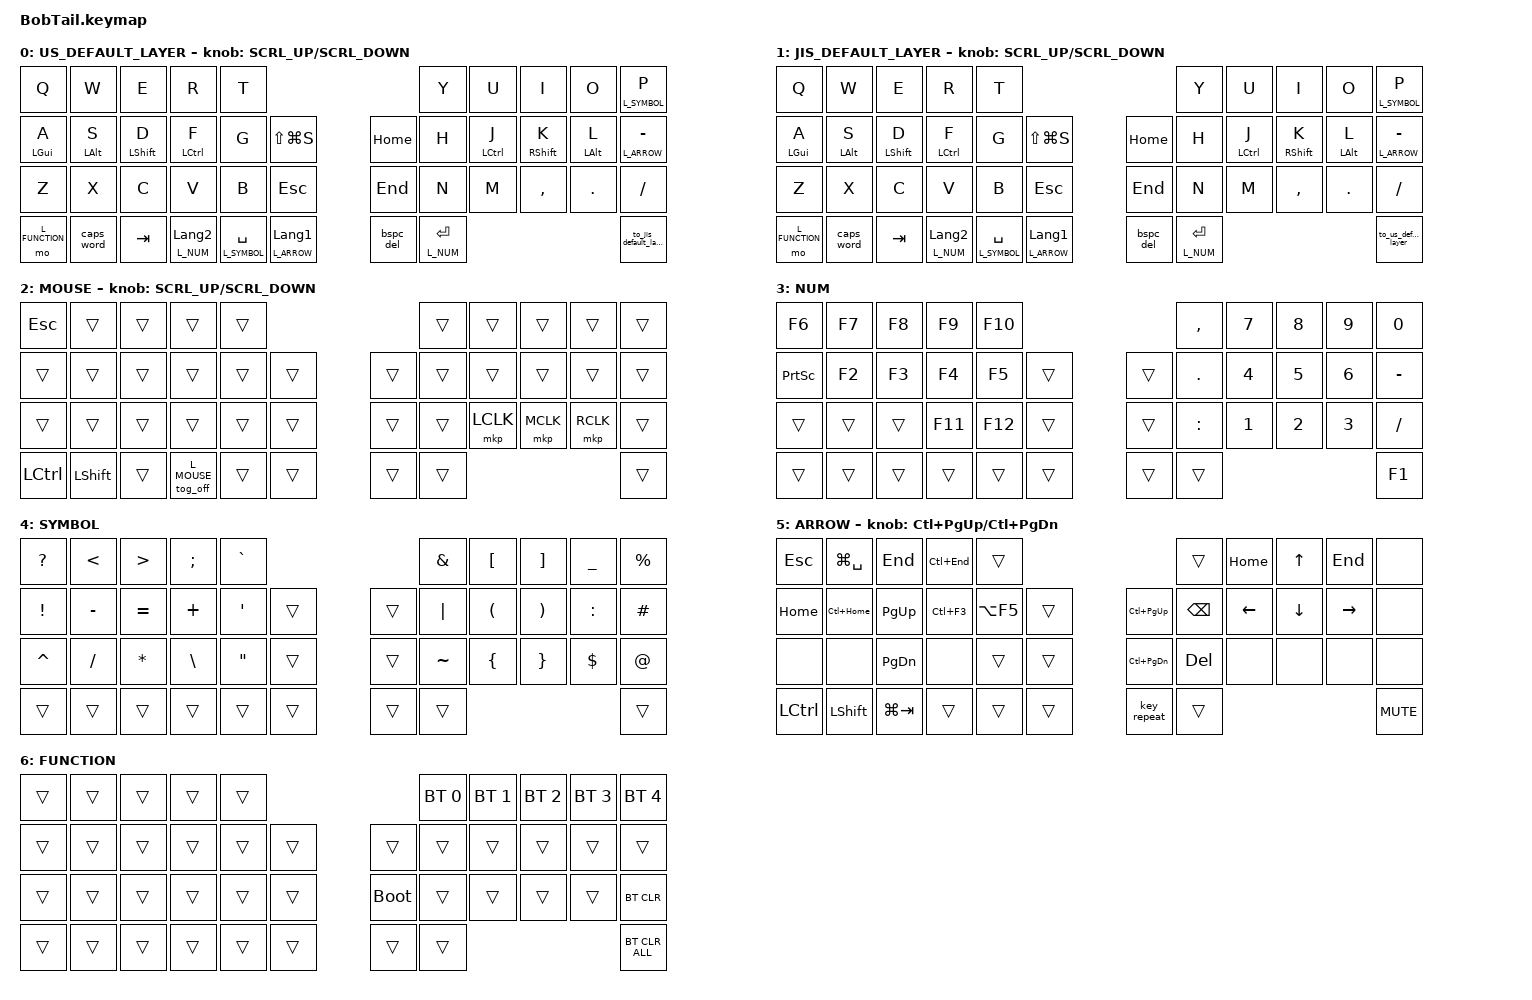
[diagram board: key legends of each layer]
#include <behaviors.dtsi>
#include <input/processors.dtsi>
#include <dt-bindings/zmk/bt.h>
#include <dt-bindings/zmk/keys.h>
#include <dt-bindings/zmk/pointing.h>
#include <layout_shift.dtsi>
#include <layout_shift_kp_override.dtsi>

// #includeのあとのあたりにスクロール量変更の定義を追記
#define ZMK_POINTING_DEFAULT_SCRL_VAL 80

#define LEFT_HAND_KEYS   \
     0  1  2  3  4       \
    10 11 12 13 14 15    \
    22 23 24 25 26 27    \
    34 35 36

#define RIGHT_HAND_KEYS  \
                             5  6  7  8  9 \
                         16 17 18 19 20 21 \
                         28 29 30 31 32 33 \
                                        42

#define LEFT_THUMB_KEYS  \
             37 38 39 

#define RIGHT_THUMB_KEYS \
                         40 41

#define L_US_DEFAULT 0
#define L_JIS_DEFAULT 1
#define L_MOUSE 2
#define L_NUM 3
#define L_SYMBOL 4
#define L_ARROW 5
#define L_FUNCTION 6

// OS設定を日本語キーボードのまま使用するための変換定義
#define JP_DQUOTE       AT                // "
#define JP_AMPERSAND    CARET             // &
#define JP_QUOTE        AMPERSAND         // '
#define JP_EQUAL        UNDER             // =
#define JP_CARET        EQUAL             // ^
#define JP_YEN          0x89              // ¥
#define JP_PLUS         COLON             // +
#define JP_TILDE        PLUS              // ~
#define JP_PIPE         LS(0x89)          // |
#define JP_AT           LEFT_BRACKET      // @
#define JP_COLON        SINGLE_QUOTE      // :
#define JP_ASTERISK     DOUBLE_QUOTES     // *
#define JP_UNDERSCORE   LS(0x87)          // _
#define JP_GRAVE        LS(LEFT_BRACE)    // `
#define JP_LBRACKET     RIGHT_BRACKET     // [
#define JP_RBRACKET     BACKSLASH         // ]
#define JP_LPAREN       ASTERISK          // (
#define JP_RPAREN       LEFT_PARENTHESIS  // )
#define JP_LBRACE       RIGHT_BRACE       // {
#define JP_RBRACE       PIPE              // }
#define JP_KANA         LANGUAGE_1        // かな
#define JP_EISU         LANGUAGE_2        // 英数
#define JP_HANZEN       GRAVE             // 半角/全角

&mt {
    flavor = "balanced";
    tapping-term-ms = <165>;
    quick-tap-ms = <165>;
};

&lt {
    flavor = "balanced";
    tapping-term-ms = <165>;
    quick-tap-ms = <165>;
};

/*
&sl {
    release-after-ms = <250>;  // ダブルクリックに必要な時間を設定
};
*/

&mkp_input_listener {
    input-processors = <&zip_temp_layer L_MOUSE 10000>;
};

&trackball {
    // automouse-layer = <L_MOUSE>;
    scroll-layers = <L_SYMBOL>;
    // snipe-layer = <3>;

    arrows {
        layers = <L_ARROW>;
        bindings =
            <&kp RIGHT_ARROW>,
            <&kp LEFT_ARROW>,
            <&kp UP_ARROW>,
            <&kp DOWN_ARROW>;

        tick = <10>;
        wait-ms = <5>;
        tap-ms = <5>;
    };
};

&tog_ls { layout-maps = <&layout_shift_map_us_to_jis>; };
&tog_ls_on { layout-maps = <&layout_shift_map_us_to_jis>; };
&tog_ls_off { layout-maps = <&layout_shift_map_us_to_jis>; };

/ {
    /*
    combos {
        compatible = "zmk,combos";

        tab {
            bindings = <&kp TAB>;
            key-positions = <11 12>;
        };

        shift_tab {
            bindings = <&kp LS(TAB)>;
            key-positions = <12 13>;
        };

        muhennkann {
            bindings = <&to_layer_0 INT_MUHENKAN>;
            key-positions = <11 10>;
        };

        double_quotation {
            bindings = <&kp DOUBLE_QUOTES>;
            key-positions = <20 21>;
        };

        eq {
            bindings = <&kp EQUAL>;
            key-positions = <24 25>;
        };

        alt_tab {
            bindings = <&app_switch>;
            key-positions = <11 36>;
        };

        win_tab {
            bindings = <&task_switch>;
            key-positions = <10 36>;
        };
    };
    */

    macros {
        to_layer_0: to_layer_0 {
            compatible = "zmk,behavior-macro-one-param";
            #binding-cells = <1>;
            bindings = <&to 0 &macro_param_1to1 &kp MACRO_PLACEHOLDER>;
            label = "TO_LAYER_0";
        };

        lt_aml_off_and_mo: lt_aml_off_and_mo {
            compatible = "zmk,behavior-macro-one-param";
            #binding-cells = <1>;
            bindings
                = <&macro_tap>
                , <&tog_off L_MOUSE>
                , <&macro_param_1to1>
                , <&macro_press &mo MACRO_PLACEHOLDER>
                , <&macro_pause_for_release>
                , <&macro_param_1to1>
                , <&macro_release &mo MACRO_PLACEHOLDER>            
                ;
            label = "LT_AML_OFF_AND_MO";
        };

        exit_AML: exit_AML {
            compatible = "zmk,behavior-macro";
            wait-ms = <0>;
            tap-ms = <0>;
            #binding-cells = <0>;
            bindings = <&tog_off L_MOUSE>;
            label = "exit_AML";
        };

        kp_exit_AML: kp_exit_AML {
            compatible = "zmk,behavior-macro-one-param";
            wait-ms = <0>;
            tap-ms = <0>;
            #binding-cells = <1>;
            bindings = <&macro_param_1to1 &kp MACRO_PLACEHOLDER &exit_AML>;
            label = "KP_exit_AML";
        };

        /*
        mkp_exit_AML: mkp_exit_AML {
            compatible = "zmk,behavior-macro-one-param";
            #binding-cells = <1>;
            bindings
                = <&macro_press>
                , <&macro_param_1to1 &mkp MACRO_PLACEHOLDER>
                , <&macro_pause_for_release>
                , <&macro_release>
                , <&macro_param_1to1 &mkp MACRO_PLACEHOLDER>
                , <&macro_tap>
                , <&sl L_MOUSE>
                ;
            label = "MKP_EXIT_AML";
        };
        */

        to_us_default_layer: to_us_default_layer {
            compatible = "zmk,behavior-macro";
            #binding-cells = <0>;
            bindings
                = <&macro_tap>
                , <&tog_off L_JIS_DEFAULT>
                , <&to L_US_DEFAULT>
                , <&tog_ls_off>
                ;
            label = "TO_US_DEFAULT_LAYER";
        };

        to_jis_default_layer: to_jis_default_layer {
            compatible = "zmk,behavior-macro";
            #binding-cells = <0>;
            bindings
                = <&macro_tap>
                , <&tog_on L_JIS_DEFAULT>
                , <&to L_JIS_DEFAULT>
                , <&tog_ls_on>
                ;
            label = "TO_JIS_DEFAULT_LAYER";
        };

        app_switch: app_switch {
            compatible = "zmk,behavior-macro";
            #binding-cells = <0>;
            wait-ms = <40>;
            tap-ms = <100>;
            bindings
                = <&macro_press   &kp LALT>
                , <&macro_tap     &kp TAB>
                , <&macro_tap     &sk LALT>
                , <&macro_release &kp LALT>
                ;
            label = "APP_SWITCH";
        };

        task_switch: task_switch {
            compatible = "zmk,behavior-macro";
            #binding-cells = <0>;
            wait-ms = <40>;
            tap-ms = <100>;
            bindings
                = <&macro_press   &kp LGUI>
                , <&macro_tap     &kp TAB>
                , <&macro_tap     &sk LGUI>
                , <&macro_release &kp LGUI>
                ;
            label = "TASK_SWITCH";
        };
    };

    behaviors {
        lt_to_layer_0: lt_to_layer_0 {
            compatible = "zmk,behavior-hold-tap";
            display-name = "LAYER_TAP_TO_0";
            bindings = <&mo>, <&to_layer_0>;

            #binding-cells = <2>;
            tapping-term-ms = <165>;
        };

        lt_aml_off: lt_aml_off {
            compatible = "zmk,behavior-hold-tap";
            #binding-cells = <2>;
            bindings = <&lt_aml_off_and_mo>, <&kp>;
            tapping-term-ms = <165>;
            display-name = "LT_AML_OFF";
        };

        bspc_del: backspace_delete {
            compatible = "zmk,behavior-mod-morph";
            #binding-cells = <0>;
            bindings = <&kp BACKSPACE>, <&kp DELETE>;
            mods = <(MOD_LSFT|MOD_RSFT)>;
            keep-mods = <(MOD_RSFT)>;
        };

        tog_on: toggle_layer_on_only {
            compatible = "zmk,behavior-toggle-layer";
            #binding-cells = <1>;
            display-name = "Toggle Layer On";
            toggle-mode = "on";
        };

        tog_off: toggle_layer_off_only {
            compatible = "zmk,behavior-toggle-layer";
            #binding-cells = <1>;
            display-name = "Toggle Layer Off";
            toggle-mode = "off";
        };

        mt_exit_AML_on_tap: mt_exit_AML_on_tap {
            compatible = "zmk,behavior-hold-tap";
            label = "MT_exit_AML_ON_TAP";
            bindings = <&kp>, <&kp_exit_AML>;

            #binding-cells = <2>;
            tapping-term-ms = <165>;
            flavor = "balanced";
            quick-tap-ms = <165>;
        };

        hml: home_row_mod_left {
            compatible = "zmk,behavior-hold-tap";
            #binding-cells = <2>;
            flavor = "balanced";
            require-prior-idle-ms = <150>;
            tapping-term-ms = <280>;
            quick-tap-ms = <175>;
            bindings = <&kp>, <&kp>;
            hold-trigger-key-positions = <RIGHT_HAND_KEYS RIGHT_THUMB_KEYS>; // List of keys on the right side of the keyboard
            hold-trigger-on-release;
        };

        hmr: home_row_mod_right {
            compatible = "zmk,behavior-hold-tap";
            #binding-cells = <2>;
            flavor = "balanced";
            require-prior-idle-ms = <150>;
            tapping-term-ms = <280>;
            quick-tap-ms = <175>;
            bindings = <&kp>, <&kp>;
            hold-trigger-key-positions = <LEFT_HAND_KEYS LEFT_THUMB_KEYS>; // List of keys on the left side of the keyboard
            hold-trigger-on-release;
        };

        // combosやmacrosと同じ階層に以下のbehaviorsを追記
        // スクロール方向を逆にしたい場合は <&msc SCRL_DOWN> と <&msc SCRL_UP> を入れ替えてください
        mouse_wheel_scrl: mouse_wheel_scrl {
            compatible = "zmk,behavior-sensor-rotate-var";
            #sensor-binding-cells = <2>;
            bindings = <&msc>, <&msc>;
            tap-ms = <20>;
        };
    };

    keymap {
        compatible = "zmk,keymap";

        US_DEFAULT_LAYER {
            bindings = <
&kp Q            &kp W            &kp E                              &kp R                                &kp T                                                        &kp Y             &kp U                                &kp I                               &kp O            &lt L_SYMBOL P
&mt LEFT_GUI A   &mt LEFT_ALT S   &mt_exit_AML_on_tap LEFT_SHIFT D   &mt_exit_AML_on_tap LEFT_CONTROL F   &kp G                &kp LS(LG(S))               &kp HOME    &kp H             &mt_exit_AML_on_tap LEFT_CONTROL J   &mt_exit_AML_on_tap RIGHT_SHIFT K   &mt LEFT_ALT L   &lt L_ARROW MINUS
&kp Z            &kp X            &kp C                              &kp V                                &kp B                &kp ESC                     &kp END     &kp N             &kp M                                &kp COMMA                           &kp DOT          &kp SLASH
&mo L_FUNCTION   &caps_word       &kp TAB                            &lt L_NUM LANGUAGE_2                 &lt L_SYMBOL SPACE   &lt L_ARROW LANGUAGE_1      &bspc_del   &lt L_NUM ENTER                                                                                             &to_jis_default_layer
            >;

            sensor-bindings = <&mouse_wheel_scrl SCRL_UP SCRL_DOWN>;
        };

        JIS_DEFAULT_LAYER {
            bindings = <
&kp Q            &kp W            &kp E                              &kp R                                &kp T                                                        &kp Y             &kp U                                &kp I                               &kp O            &lt  L_SYMBOL P
&mt LEFT_GUI A   &mt LEFT_ALT S   &mt_exit_AML_on_tap LEFT_SHIFT D   &mt_exit_AML_on_tap LEFT_CONTROL F   &kp G                &kp LS(LG(S))               &kp HOME    &kp H             &mt_exit_AML_on_tap LEFT_CONTROL J   &mt_exit_AML_on_tap RIGHT_SHIFT K   &mt LEFT_ALT L   &lt L_ARROW MINUS
&kp Z            &kp X            &kp C                              &kp V                                &kp B                &kp ESC                     &kp END     &kp N             &kp M                                &kp COMMA                           &kp DOT          &kp SLASH
&mo L_FUNCTION   &caps_word       &kp TAB                            &lt L_NUM LANGUAGE_2                 &lt L_SYMBOL SPACE   &lt L_ARROW LANGUAGE_1      &bspc_del   &lt L_NUM ENTER                                                                                             &to_us_default_layer
            >;

            sensor-bindings = <&mouse_wheel_scrl SCRL_UP SCRL_DOWN>;
        };

        MOUSE {
            bindings = <
&kp ESC            &trans           &trans   &trans             &trans                        &trans   &trans      &trans      &trans      &trans
&trans             &trans           &trans   &trans             &trans   &trans      &trans   &trans   &trans      &trans      &trans      &trans
&trans             &trans           &trans   &trans             &trans   &trans      &trans   &trans   &mkp LCLK   &mkp MCLK   &mkp RCLK   &trans   
&kp LEFT_CONTROL   &kp LEFT_SHIFT   &trans   &tog_off L_MOUSE   &trans   &trans      &trans   &trans                                       &trans
            >;

            sensor-bindings = <&mouse_wheel_scrl SCRL_UP SCRL_DOWN>;
        };

        NUM {
            bindings = <
&kp F6            &kp F7   &kp F8   &kp F9    &kp F10                        &kp COMMA    &kp NUMBER_7   &kp NUMBER_8   &kp NUMBER_9   &kp NUMBER_0
&kp PRINTSCREEN   &kp F2   &kp F3   &kp F4    &kp F5    &trans      &trans   &kp DOT      &kp NUMBER_4   &kp NUMBER_5   &kp NUMBER_6   &kp MINUS
&trans            &trans   &trans   &kp F11   &kp F12   &trans      &trans   &kp COLON    &kp NUMBER_1   &kp NUMBER_2   &kp NUMBER_3   &kp SLASH
&trans            &trans   &trans   &trans    &trans    &trans      &trans   &trans                                                    &kp F1
            >;
        };

        SYMBOL {
            bindings = <
&kp QUESTION      &kp LESS_THAN   &kp GREATER_THAN   &kp SEMICOLON   &kp GRAVE                                &kp AMPERSAND   &kp LEFT_BRACKET       &kp RIGHT_BRACKET       &kp UNDERSCORE   &kp PERCENT
&kp EXCLAMATION   &kp MINUS       &kp EQUAL          &kp PLUS        &kp SINGLE_QUOTE    &trans      &trans   &kp PIPE        &kp LEFT_PARENTHESIS   &kp RIGHT_PARENTHESIS   &kp COLON        &kp HASH
&kp CARET         &kp SLASH       &kp ASTERISK       &kp BACKSLASH   &kp DOUBLE_QUOTES   &trans      &trans   &kp TILDE       &kp LEFT_BRACE         &kp RIGHT_BRACE         &kp DOLLAR       &kp AT_SIGN
&trans            &trans          &trans             &trans          &trans              &trans      &trans   &trans                                                                          &trans
            >;
        };

        ARROW {
            bindings = <
&kp ESC           &kp LG(SPACE)   &kp END        &kp LC(END)  &trans                                     &trans         &kp HOME         &kp UP_ARROW     &kp END           &none
&kp HOME          &kp LC(HOME)    &kp PAGE_UP    &kp LC(F3)   &kp LA(F5)  &trans      &kp LC(PAGE_UP)    &kp BACKSPACE  &kp LEFT_ARROW   &kp DOWN_ARROW   &kp RIGHT_ARROW   &none
&none             &none           &kp PAGE_DOWN  &none        &trans      &trans      &kp LC(PAGE_DOWN)  &kp DEL        &none            &none            &none             &none
&kp LEFT_CONTROL  &kp LEFT_SHIFT  &kp LG(TAB)    &trans       &trans      &trans      &key_repeat        &trans                                                             &kp K_MUTE
            >;

            sensor-bindings = <&inc_dec_kp LC(PAGE_UP) LC(PAGE_DOWN)>;
        };

        FUNCTION {
            bindings = <
&trans  &trans        &trans        &trans        &trans                           &bt BT_SEL 0  &bt BT_SEL 1  &bt BT_SEL 2  &bt BT_SEL 3  &bt BT_SEL 4
&trans  &trans        &trans        &trans        &trans  &trans      &trans       &trans        &trans        &trans        &trans        &trans
&trans  &trans        &trans        &trans        &trans  &trans      &bootloader  &trans        &trans        &trans        &trans        &bt BT_CLR
&trans  &trans        &trans        &trans        &trans  &trans      &trans       &trans                                                  &bt BT_CLR_ALL
            >;
        };
    };
};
